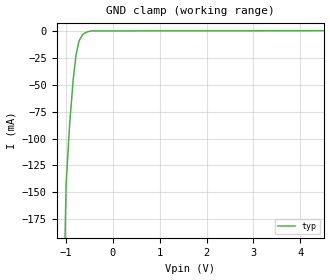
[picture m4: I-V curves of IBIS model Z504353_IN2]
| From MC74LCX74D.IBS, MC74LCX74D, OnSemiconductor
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| (C) COPYRIGHT 1993-2000
| MENTOR GRAPHICS CORPORATION
| ICX STANDARD LIBRARY, ICX PROJECT MODELING,
| ICX CUSTOM MODELING, ICX VENDOR MODEL
| ALL RIGHTS RESERVED.
| THE FOLLOWING ARE TRADEMARKS OR SERVICE MARKS OF
| MENTOR GRAPHICS CORPORATION:ICX (R), ICX STANDARD
| LIBRARY(R), ICX PROJECT MODELING(R), ICX CUSTOM
| MODELING(R), qualityIBIS(TM), MODELVIEWER(TM),
| AND MODELEDITOR(TM)
| ALL COPIES OF SOFTWARE, INCLUDING BUT NOT LIMITED TO
| ANY MODIFICATIONS, ENHANCEMENTS OR DERIVATIVE WORKS,
| MUST CONTAIN ALL MENTOR GRAPHICS CORPORATION'S
| NOTICES AND LEGENDS, INCLUDING THOSE EMBEDDED IN
| SOFTWARE AND THOSE AFFIXED TO SOFTWARE MEDIUM
| AND CONTAINER, AS RECEIVED FROM MENTOR GRAPHICS
| CORPORATION.
| Model Application Version 1.89 2/18/99.
[Model] Z504353_IN2
Model_type Input
Vinl = 800.0mV
Vinh = 2.000V
C_comp 4.000pF NA NA
| variable typ   min   max
[Voltage Range] 3.300V NA NA
[GND Clamp Reference] 0.000V NA NA
[POWER Clamp Reference] 3.300V NA NA
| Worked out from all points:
|   GND clamp passes 1 mA (typ) near -0.55 V on its own axis
[GND Clamp]
-3.3V     -2.465A    NA         NA
-1.041V   -244.2mA   NA         NA
-995.9mV  -142.6mA   NA         NA
-917.4mV  -84.66mA   NA         NA
-840.5mV  -43.46mA   NA         NA
-784.9mV  -22.64mA   NA         NA
-721.5mV  -9.33mA    NA         NA
-644.3mV  -3.517mA   NA         NA
-588.6mV  -1.696mA   NA         NA
-429.3mV  10.95uA    NA         NA
6.6V      357uA      NA         NA
[POWER Clamp]
-3.3V     0A         NA         NA
6.6V      0A         NA         NA
